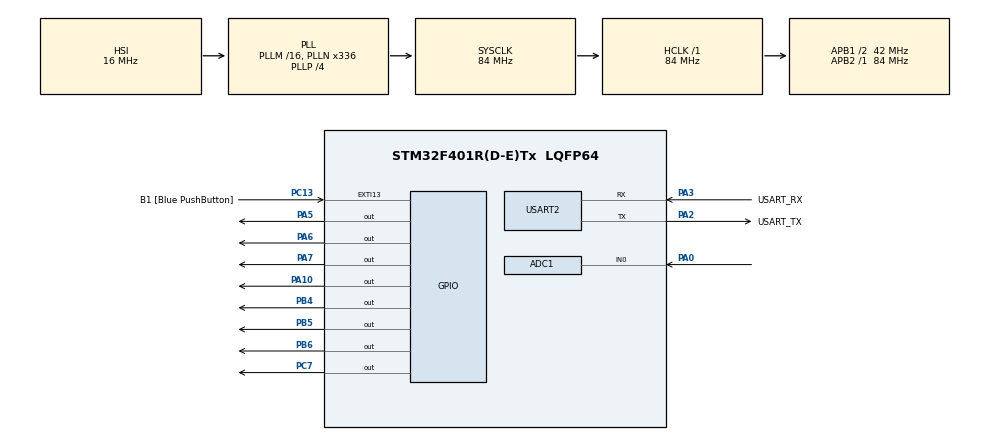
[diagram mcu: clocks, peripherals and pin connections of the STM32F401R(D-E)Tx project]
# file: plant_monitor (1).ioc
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ADC1.Channel-2\#ChannelRegularConversion=ADC_CHANNEL_0
ADC1.ContinuousConvMode=ENABLE
ADC1.NbrOfConversionFlag=1
ADC1.Rank-2\#ChannelRegularConversion=1
ADC1.SamplingTime-2\#ChannelRegularConversion=ADC_SAMPLETIME_3CYCLES
ADC1.master=1
Mcu.Family=STM32F4
Mcu.Name=STM32F401R(D-E)Tx
Mcu.Package=LQFP64
NVIC.PriorityGroup=NVIC_PRIORITYGROUP_0
PA0-WKUP.Signal=SharedAnalog_PA0
PA10.Signal=GPIO_Output
PA13.GPIO_Label=TMS
PA13.Mode=Serial_Wire
PA13.Signal=SYS_JTMS-SWDIO
PA14.GPIO_Label=TCK
PA14.Mode=Serial_Wire
PA14.Signal=SYS_JTCK-SWCLK
PA2.GPIO_Label=USART_TX
PA2.GPIO_Mode=GPIO_MODE_AF_PP
PA2.GPIO_PuPd=GPIO_NOPULL
PA2.GPIO_Speed=GPIO_SPEED_FREQ_LOW
PA2.Mode=Asynchronous
PA2.Signal=USART2_TX
PA3.GPIO_Label=USART_RX
PA3.GPIO_Mode=GPIO_MODE_AF_PP
PA3.GPIO_PuPd=GPIO_NOPULL
PA3.GPIO_Speed=GPIO_SPEED_FREQ_LOW
PA3.Mode=Asynchronous
PA3.Signal=USART2_RX
PA5.Signal=GPIO_Output
PA6.Signal=GPIO_Output
PA7.Signal=GPIO_Output
PB3.GPIO_Label=SWO
PB3.Signal=SYS_JTDO-SWO
PB4.Signal=GPIO_Output
PB5.Signal=GPIO_Output
PB6.Signal=GPIO_Output
PC13-ANTI_TAMP.GPIO_Label=B1 [Blue PushButton]
PC13-ANTI_TAMP.GPIO_ModeDefaultEXTI=GPIO_MODE_IT_FALLING
PC13-ANTI_TAMP.GPIO_PuPd=GPIO_NOPULL
PC13-ANTI_TAMP.Signal=GPXTI13
PC14-OSC32_IN.Mode=LSE-External-Oscillator
PC14-OSC32_IN.Signal=RCC_OSC32_IN
PC15-OSC32_OUT.Mode=LSE-External-Oscillator
PC15-OSC32_OUT.Signal=RCC_OSC32_OUT
PC7.Signal=GPIO_Output
PH0\ -\ OSC_IN.Mode=HSE-External-Clock-Source
PH0\ -\ OSC_IN.Signal=RCC_OSC_IN
PH1\ -\ OSC_OUT.Mode=HSE-External-Clock-Source
PH1\ -\ OSC_OUT.Signal=RCC_OSC_OUT
ProjectManager.HeapSize=0x200
ProjectManager.StackSize=0x400
ProjectManager.TargetToolchain=STM32CubeIDE
RCC.48MHZClocksFreq_Value=48000000
RCC.AHBFreq_Value=84000000
RCC.APB1CLKDivider=RCC_HCLK_DIV2
RCC.APB1Freq_Value=42000000
RCC.APB1TimFreq_Value=84000000
RCC.APB2Freq_Value=84000000
RCC.APB2TimFreq_Value=84000000
RCC.CortexFreq_Value=84000000
RCC.HCLKFreq_Value=84000000
RCC.HSE_VALUE=8000000
RCC.HSI_VALUE=16000000
RCC.PLLN=336
RCC.PLLP=RCC_PLLP_DIV4
RCC.PLLQ=7
RCC.SYSCLKFreq_VALUE=84000000
RCC.SYSCLKSource=RCC_SYSCLKSOURCE_PLLCLK
RCC.VCOOutputFreq_Value=336000000
SH.SharedAnalog_PA0.0=GPIO_Analog
SH.SharedAnalog_PA0.1=ADC1_IN0,IN0
USART2.VirtualMode=VM_ASYNC
board=NUCLEO-F401RE

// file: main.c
/* USER CODE BEGIN Header */
/**
  ******************************************************************************
  * @file           : main.c
  * @brief          : Main program body
  ******************************************************************************
  * @attention
  *
  * Copyright (c) 2022 STMicroelectronics.
  * All rights reserved.
  *
  * This software is licensed under terms that can be found in the LICENSE file
  * in the root directory of this software component.
  * If no LICENSE file comes with this software, it is provided AS-IS.
  *
  ******************************************************************************
  */
/* USER CODE END Header */
#include "main.h"

/* USER CODE BEGIN Includes */
#include "lcd.h"
/* USER CODE END Includes */

ADC_HandleTypeDef hadc1;

UART_HandleTypeDef huart2;

/* USER CODE BEGIN PV */
unsigned int analog_value = 0;
/* USER CODE END PV */

void SystemClock_Config(void);
static void MX_GPIO_Init(void);
static void MX_USART2_UART_Init(void);
static void MX_ADC1_Init(void);

int main(void)
{

  /* MCU Configuration--------------------------------------------------------*/

  /* Reset of all peripherals, Initializes the Flash interface and the Systick. */
  HAL_Init();

  /* Configure the system clock */
  SystemClock_Config();

  /* Initialize all configured peripherals */
  MX_GPIO_Init();
  MX_USART2_UART_Init();
  MX_ADC1_Init();
  /* USER CODE BEGIN 2 */
  // Lcd_PortType ports[] = { D4_GPIO_Port, D5_GPIO_Port, D6_GPIO_Port, D7_GPIO_Port };

  	int led_status = 1;
    Lcd_PortType ports[] = { GPIOC, GPIOB, GPIOA, GPIOA };
    // Lcd_PinType pins[] = {D4_Pin, D5_Pin, D6_Pin, D7_Pin};
    Lcd_PinType pins[] = {GPIO_PIN_7, GPIO_PIN_6, GPIO_PIN_7, GPIO_PIN_6};
    Lcd_HandleTypeDef lcd;
    // Lcd_create(ports, pins, RS_GPIO_Port, RS_Pin, EN_GPIO_Port, EN_Pin, LCD_4_BIT_MODE);
    lcd = Lcd_create(ports, pins, GPIOB, GPIO_PIN_5, GPIOB, GPIO_PIN_4, LCD_4_BIT_MODE);
    Lcd_cursor(&lcd, 0,0);
    Lcd_string(&lcd, "Status:");
    HAL_GPIO_WritePin(GPIOA,GPIO_PIN_10, led_status);
    if (HAL_GPIO_ReadPin(GPIOA,GPIO_PIN_10) == 0){
    	Lcd_cursor(&lcd, 0,7);
    	Lcd_string(&lcd, "OFF");
    	Lcd_cursor(&lcd,1,0);
    	Lcd_string(&lcd,"Program Running");
    }else {
    	Lcd_cursor(&lcd, 0,7);
    	Lcd_string(&lcd,"ON");
    	Lcd_cursor(&lcd,1,0);
    	Lcd_string(&lcd,"Program Running");
    }

    HAL_Delay(2000);
    Lcd_clear(&lcd);

  /* USER CODE END 2 */

  /* Infinite loop */
  while (1)
  {

    /* USER CODE BEGIN 3 */

	  HAL_ADC_Start(&hadc1);
	  Lcd_clear(&lcd);
	  if (HAL_ADC_PollForConversion(&hadc1,1000) == HAL_OK){
		  analog_value = HAL_ADC_GetValue(&hadc1);
		  Lcd_cursor(&lcd,0,0);
		  Lcd_string(&lcd,"Soil Moist:");
		  if(analog_value/1000 <= 1){
			  Lcd_string(&lcd,"Wet");
		  } else if (  analog_value/1000 <= 2 ){
			  Lcd_string(&lcd,"Moist");

		  }else if (analog_value/1000 >= 3) {
			  Lcd_string(&lcd,"Dry");
		  }

		  Lcd_cursor(&lcd,1,0);
		  Lcd_string(&lcd,"Lumens:");
		  Lcd_int(&lcd,0);
//		  int value = HAL_GPIO_ReadPin(GPIOA,GPIO_PIN_1);
		  //Lcd_int(&lcd,((analog_value/1024) *0.25*90));

//		  Lcd_int(&lcd,((analog_value/1024) * 0.25*90));
//		  int value = HAL_GPIO_ReadPin(GPIOA,GPIO_PIN_8);
//		  if (value == 1){
//		  	Lcd_cursor(&lcd,1,11);
//		  	Lcd_string(&lcd,"WET");
//		  } else {
//		  	Lcd_cursor(&lcd,1,11);
//		  	Lcd_string(&lcd,"DRY");
//		  }

	  }
	  HAL_ADC_Stop(&hadc1);

	  HAL_Delay(100);

  }
  /* USER CODE END 3 */
}

void SystemClock_Config(void)
{
  RCC_OscInitTypeDef RCC_OscInitStruct = {0};
  RCC_ClkInitTypeDef RCC_ClkInitStruct = {0};

  /** Configure the main internal regulator output voltage
  */
  __HAL_RCC_PWR_CLK_ENABLE();
  __HAL_PWR_VOLTAGESCALING_CONFIG(PWR_REGULATOR_VOLTAGE_SCALE2);

  /** Initializes the RCC Oscillators according to the specified parameters
  * in the RCC_OscInitTypeDef structure.
  */
  RCC_OscInitStruct.OscillatorType = RCC_OSCILLATORTYPE_HSI;
  RCC_OscInitStruct.HSIState = RCC_HSI_ON;
  RCC_OscInitStruct.HSICalibrationValue = RCC_HSICALIBRATION_DEFAULT;
  RCC_OscInitStruct.PLL.PLLState = RCC_PLL_ON;
  RCC_OscInitStruct.PLL.PLLSource = RCC_PLLSOURCE_HSI;
  RCC_OscInitStruct.PLL.PLLM = 16;
  RCC_OscInitStruct.PLL.PLLN = 336;
  RCC_OscInitStruct.PLL.PLLP = RCC_PLLP_DIV4;
  RCC_OscInitStruct.PLL.PLLQ = 7;
  if (HAL_RCC_OscConfig(&RCC_OscInitStruct) != HAL_OK)
  {
    Error_Handler();
  }

  /** Initializes the CPU, AHB and APB buses clocks
  */
  RCC_ClkInitStruct.ClockType = RCC_CLOCKTYPE_HCLK|RCC_CLOCKTYPE_SYSCLK
                              |RCC_CLOCKTYPE_PCLK1|RCC_CLOCKTYPE_PCLK2;
  RCC_ClkInitStruct.SYSCLKSource = RCC_SYSCLKSOURCE_PLLCLK;
  RCC_ClkInitStruct.AHBCLKDivider = RCC_SYSCLK_DIV1;
  RCC_ClkInitStruct.APB1CLKDivider = RCC_HCLK_DIV2;
  RCC_ClkInitStruct.APB2CLKDivider = RCC_HCLK_DIV1;

  if (HAL_RCC_ClockConfig(&RCC_ClkInitStruct, FLASH_LATENCY_2) != HAL_OK)
  {
    Error_Handler();
  }
}

static void MX_ADC1_Init(void)
{

  ADC_ChannelConfTypeDef sConfig = {0};

  /** Configure the global features of the ADC (Clock, Resolution, Data Alignment and number of conversion)
  */
  hadc1.Instance = ADC1;
  hadc1.Init.ClockPrescaler = ADC_CLOCK_SYNC_PCLK_DIV4;
  hadc1.Init.Resolution = ADC_RESOLUTION_12B;
  hadc1.Init.ScanConvMode = DISABLE;
  hadc1.Init.ContinuousConvMode = ENABLE;
  hadc1.Init.DiscontinuousConvMode = DISABLE;
  hadc1.Init.ExternalTrigConvEdge = ADC_EXTERNALTRIGCONVEDGE_NONE;
  hadc1.Init.ExternalTrigConv = ADC_SOFTWARE_START;
  hadc1.Init.DataAlign = ADC_DATAALIGN_RIGHT;
  hadc1.Init.NbrOfConversion = 1;
  hadc1.Init.DMAContinuousRequests = DISABLE;
  hadc1.Init.EOCSelection = ADC_EOC_SINGLE_CONV;
  if (HAL_ADC_Init(&hadc1) != HAL_OK)
  {
    Error_Handler();
  }

  /** Configure for the selected ADC regular channel its corresponding rank in the sequencer and its sample time.
  */
  sConfig.Channel = ADC_CHANNEL_0;
  sConfig.Rank = 1;
  sConfig.SamplingTime = ADC_SAMPLETIME_3CYCLES;
  if (HAL_ADC_ConfigChannel(&hadc1, &sConfig) != HAL_OK)
  {
    Error_Handler();
  }

}

static void MX_USART2_UART_Init(void)
{

  huart2.Instance = USART2;
  huart2.Init.BaudRate = 115200;
  huart2.Init.WordLength = UART_WORDLENGTH_8B;
  huart2.Init.StopBits = UART_STOPBITS_1;
  huart2.Init.Parity = UART_PARITY_NONE;
  huart2.Init.Mode = UART_MODE_TX_RX;
  huart2.Init.HwFlowCtl = UART_HWCONTROL_NONE;
  huart2.Init.OverSampling = UART_OVERSAMPLING_16;
  if (HAL_UART_Init(&huart2) != HAL_OK)
  {
    Error_Handler();
  }

}

static void MX_GPIO_Init(void)
{
  GPIO_InitTypeDef GPIO_InitStruct = {0};

  /* GPIO Ports Clock Enable */
  __HAL_RCC_GPIOC_CLK_ENABLE();
  __HAL_RCC_GPIOH_CLK_ENABLE();
  __HAL_RCC_GPIOA_CLK_ENABLE();
  __HAL_RCC_GPIOB_CLK_ENABLE();

  /*Configure GPIO pin Output Level */
  HAL_GPIO_WritePin(GPIOA, GPIO_PIN_5|GPIO_PIN_6|GPIO_PIN_7|GPIO_PIN_10, GPIO_PIN_RESET);

  /*Configure GPIO pin Output Level */
  HAL_GPIO_WritePin(GPIOC, GPIO_PIN_7, GPIO_PIN_RESET);

  /*Configure GPIO pin Output Level */
  HAL_GPIO_WritePin(GPIOB, GPIO_PIN_4|GPIO_PIN_5|GPIO_PIN_6, GPIO_PIN_RESET);

  /*Configure GPIO pin : B1_Pin */
  GPIO_InitStruct.Pin = B1_Pin;
  GPIO_InitStruct.Mode = GPIO_MODE_IT_FALLING;
  GPIO_InitStruct.Pull = GPIO_NOPULL;
  HAL_GPIO_Init(B1_GPIO_Port, &GPIO_InitStruct);

  /*Configure GPIO pins : PA5 PA6 PA7 PA10 */
  GPIO_InitStruct.Pin = GPIO_PIN_5|GPIO_PIN_6|GPIO_PIN_7|GPIO_PIN_10;
  GPIO_InitStruct.Mode = GPIO_MODE_OUTPUT_PP;
  GPIO_InitStruct.Pull = GPIO_NOPULL;
  GPIO_InitStruct.Speed = GPIO_SPEED_FREQ_LOW;
  HAL_GPIO_Init(GPIOA, &GPIO_InitStruct);

  /*Configure GPIO pin : PC7 */
  GPIO_InitStruct.Pin = GPIO_PIN_7;
  GPIO_InitStruct.Mode = GPIO_MODE_OUTPUT_PP;
  GPIO_InitStruct.Pull = GPIO_NOPULL;
  GPIO_InitStruct.Speed = GPIO_SPEED_FREQ_LOW;
  HAL_GPIO_Init(GPIOC, &GPIO_InitStruct);

  /*Configure GPIO pins : PB4 PB5 PB6 */
  GPIO_InitStruct.Pin = GPIO_PIN_4|GPIO_PIN_5|GPIO_PIN_6;
  GPIO_InitStruct.Mode = GPIO_MODE_OUTPUT_PP;
  GPIO_InitStruct.Pull = GPIO_NOPULL;
  GPIO_InitStruct.Speed = GPIO_SPEED_FREQ_LOW;
  HAL_GPIO_Init(GPIOB, &GPIO_InitStruct);

}

void Error_Handler(void)
{
  __disable_irq();
  while (1)
  {
  }
}
